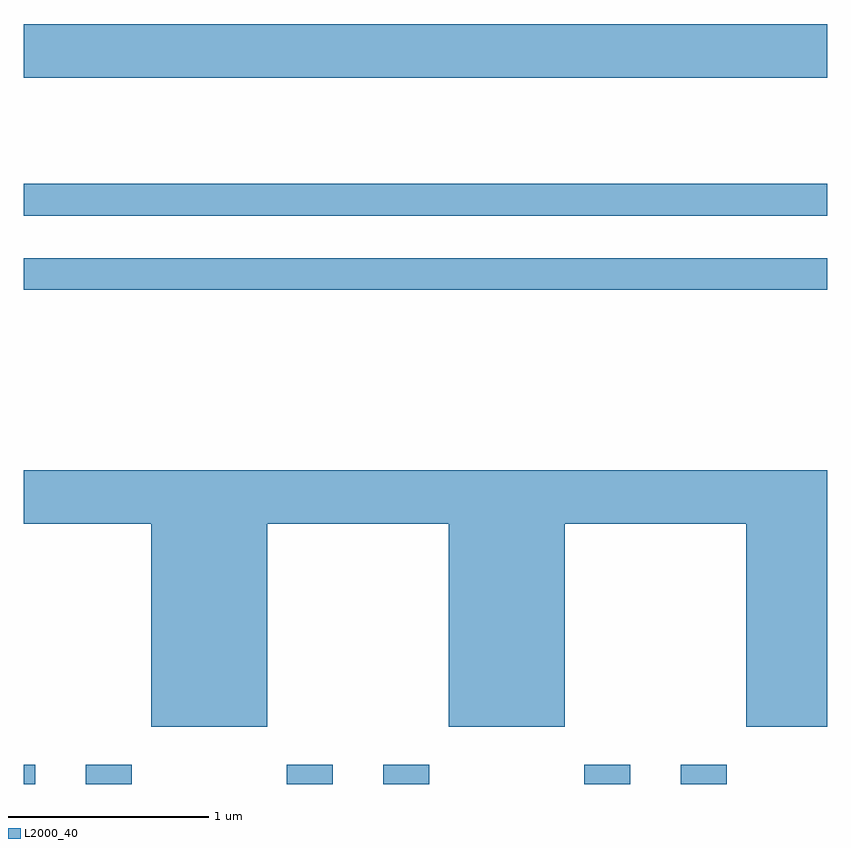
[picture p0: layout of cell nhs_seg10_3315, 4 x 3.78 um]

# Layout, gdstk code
import gdstk
lib = gdstk.Library(unit=1e-6, precision=1e-09)
def R(c, l, rs):  # rectangles x0, y0, x1, y1
    for r in rs: c.add(gdstk.rectangle(r[:2], r[2:], *l))
def P(c, l, *ps):  # polygons
    for p in ps: c.add(gdstk.Polygon(p, *l))
L2000_40 = (2000, 40)

nhs_seg10_3315 = lib.new_cell('nhs_seg10_3315')
R(nhs_seg10_3315, L2000_40, [(281.611,2212.522,281.669,2212.619), (281.921,2212.522,282.149,2212.619), (282.921,2212.522,283.149,2212.619), (283.401,2212.522,283.629,2212.619), (284.401,2212.522,284.629,2212.619), (284.881,2212.522,285.109,2212.619), (281.611,2214.981,285.611,2215.139), (281.611,2215.351,285.611,2215.509), (281.611,2216.036,285.611,2216.304)])
P(nhs_seg10_3315, L2000_40, [(282.824,2213.816),(283.726,2213.816),(283.726,2212.806),(284.304,2212.806),(284.304,2213.816),(285.206,2213.816),(285.206,2212.806),(285.611,2212.806),(285.611,2214.084),(281.611,2214.084),(281.611,2213.816),(282.246,2213.816),(282.246,2212.806),(282.824,2212.806)])

lib.write_gds('nhs_seg10_3315.gds')
